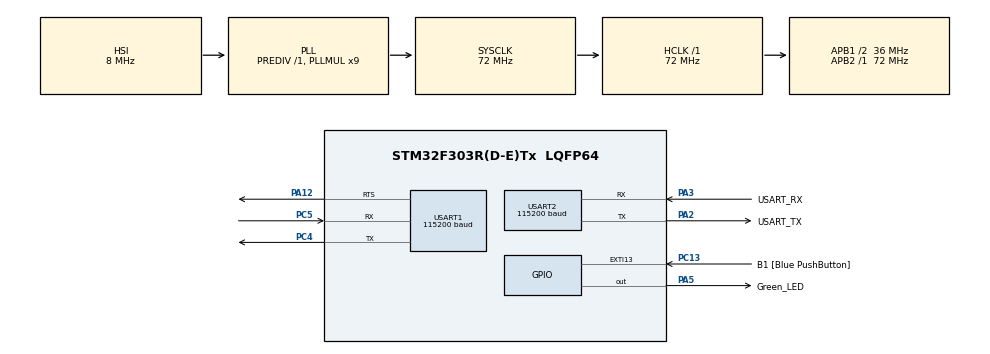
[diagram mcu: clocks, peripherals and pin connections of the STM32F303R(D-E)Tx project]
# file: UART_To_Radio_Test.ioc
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Mcu.Family=STM32F3
Mcu.Name=STM32F303R(D-E)Tx
Mcu.Package=LQFP64
NVIC.PriorityGroup=NVIC_PRIORITYGROUP_0
PA12.Mode=RTS_Only
PA12.Signal=USART1_RTS
PA13.GPIO_Label=TMS
PA13.Mode=Serial_Wire
PA13.Signal=SYS_JTMS-SWDIO
PA14.GPIO_Label=TCK
PA14.Mode=Serial_Wire
PA14.Signal=SYS_JTCK-SWCLK
PA2.GPIO_Label=USART_TX
PA2.GPIO_Mode=GPIO_MODE_AF_PP
PA2.GPIO_PuPd=GPIO_NOPULL
PA2.GPIO_Speed=GPIO_SPEED_FREQ_LOW
PA2.Mode=Asynchronous
PA2.Signal=USART2_TX
PA3.GPIO_Label=USART_RX
PA3.GPIO_Mode=GPIO_MODE_AF_PP
PA3.GPIO_PuPd=GPIO_NOPULL
PA3.GPIO_Speed=GPIO_SPEED_FREQ_LOW
PA3.Mode=Asynchronous
PA3.Signal=USART2_RX
PA5.GPIO_Label=Green_LED
PA5.GPIO_Mode=GPIO_MODE_OUTPUT_PP
PA5.GPIO_PuPd=GPIO_NOPULL
PA5.GPIO_Speed=GPIO_SPEED_FREQ_LOW
PA5.Signal=GPIO_Output
PB3.GPIO_Label=SWO
PB3.Signal=SYS_JTDO-TRACESWO
PC13.GPIO_Label=B1 [Blue PushButton]
PC13.GPIO_ModeDefaultEXTI=GPIO_MODE_IT_FALLING
PC13.Signal=GPXTI13
PC14-OSC32_IN.Mode=LSE-External-Oscillator
PC14-OSC32_IN.Signal=RCC_OSC32_IN
PC15-OSC32_OUT.Mode=LSE-External-Oscillator
PC15-OSC32_OUT.Signal=RCC_OSC32_OUT
PC4.Mode=Asynchronous
PC4.Signal=USART1_TX
PC5.Mode=Asynchronous
PC5.Signal=USART1_RX
PF0-OSC_IN.Mode=HSE-External-Clock-Source
PF0-OSC_IN.Signal=RCC_OSC_IN
PF1-OSC_OUT.Signal=RCC_OSC_OUT
ProjectManager.HeapSize=0x200
ProjectManager.StackSize=0x400
ProjectManager.TargetToolchain=STM32CubeIDE
RCC.AHBFreq_Value=72000000
RCC.APB1CLKDivider=RCC_HCLK_DIV2
RCC.APB1Freq_Value=36000000
RCC.APB1TimFreq_Value=72000000
RCC.APB2Freq_Value=72000000
RCC.APB2TimFreq_Value=72000000
RCC.CortexFreq_Value=72000000
RCC.HCLKFreq_Value=72000000
RCC.HSE_VALUE=8000000
RCC.HSI_VALUE=8000000
RCC.PLLM=8
RCC.PLLMUL=RCC_PLL_MUL9
RCC.PLLN=336
RCC.PLLP=RCC_PLLP_DIV4
RCC.PLLQ=7
RCC.RCC_PLLsource_Clock_Source_FROM_HSE=RCC_HSE_PREDIV_DIV2
RCC.SYSCLKFreq_VALUE=72000000
RCC.SYSCLKSourceVirtual=RCC_SYSCLKSOURCE_PLLCLK
RCC.USBFreq_Value=72000000
USART1.BaudRate=115200
USART1.VirtualMode-Asynchronous=VM_ASYNC
USART2.BaudRate=115200
USART2.VirtualMode-Asynchronous=VM_ASYNC
board=NUCLEO-F303RE

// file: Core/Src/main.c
/* USER CODE BEGIN Header */
/**
  ******************************************************************************
  * @file           : main.c
  * @brief          : Main program body
  ******************************************************************************
  * @attention
  *
  * Copyright (c) 2025 STMicroelectronics.
  * All rights reserved.
  *
  * This software is licensed under terms that can be found in the LICENSE file
  * in the root directory of this software component.
  * If no LICENSE file comes with this software, it is provided AS-IS.
  *
  ******************************************************************************
  */
/* USER CODE END Header */
#include "main.h"

UART_HandleTypeDef huart1;
UART_HandleTypeDef huart2;

void SystemClock_Config(void);
static void MX_GPIO_Init(void);
static void MX_USART2_UART_Init(void);
static void MX_USART1_UART_Init(void);
/* USER CODE BEGIN PFP */
void myprintf(const char *fmt, ...);
/* USER CODE END PFP */

/* USER CODE BEGIN 0 */
//void myprintf(const char *fmt, ...) {
//  static char buffer[256];
//  va_list args;
//  va_start(args, fmt);
//  vsnprintf(buffer, sizeof(buffer), fmt, args);
//  va_end(args);
//
//  int len = strlen(buffer);
//  HAL_UART_Transmit(&huart2, (uint8_t*)buffer, len, -1);
//
//}
/* USER CODE END 0 */

int main(void)
{

  /* MCU Configuration--------------------------------------------------------*/

  /* Reset of all peripherals, Initializes the Flash interface and the Systick. */
  HAL_Init();

  /* Configure the system clock */
  SystemClock_Config();

  /* Initialize all configured peripherals */
  MX_GPIO_Init();
  MX_USART2_UART_Init();
  MX_USART1_UART_Init();
  /* USER CODE BEGIN 2 */
  const char *hw = "Hello World! \r\n";
  const char *send = "GT + CC + GT";
  const char *test = "y";
  HAL_StatusTypeDef ok_notok = HAL_BUSY;
  HAL_GPIO_WritePin(GPIOA, Green_LED_Pin, RESET);
  GPIO_PinState pressed;
  int len = 15;
  int count = 0;
  /* USER CODE END 2 */

  /* Infinite loop */
  /* USER CODE BEGIN WHILE */
  while (1)
  {
	  pressed = HAL_GPIO_ReadPin(GPIOC, GPIO_PIN_13);
	 count ++;
	  if(pressed == 0){
		  //HAL_GPIO_WritePin(GPIOA, Green_LED_Pin, SET);
		  //ok_notok = HAL_UART_Transmit(&huart1, (uint8_t *)test, 1, 100);
		  ok_notok = HAL_UART_Transmit(&huart2, (uint8_t *)hw, len, 100);
		  ok_notok = HAL_UART_Transmit(&huart1, (uint8_t *)hw, len, 100);
//		  ok_notok = HAL_UART_Transmit(&huart1, (uint8_t *)send, 6, 100);
		  if(ok_notok == HAL_OK){
			  HAL_GPIO_WritePin(GPIOA, Green_LED_Pin, RESET);
		  }
		  if(count == 4) {
			  count = 0;
			  ok_notok = HAL_UART_Transmit(&huart1, (uint8_t *)send, 12, 100);
		  }
		  HAL_Delay(1000);
		  HAL_GPIO_WritePin(GPIOA, Green_LED_Pin, SET);
	  }
    /* USER CODE END WHILE */

  }
}

void SystemClock_Config(void)
{
  RCC_OscInitTypeDef RCC_OscInitStruct = {0};
  RCC_ClkInitTypeDef RCC_ClkInitStruct = {0};
  RCC_PeriphCLKInitTypeDef PeriphClkInit = {0};

  /** Initializes the RCC Oscillators according to the specified parameters
  * in the RCC_OscInitTypeDef structure.
  */
  RCC_OscInitStruct.OscillatorType = RCC_OSCILLATORTYPE_HSI;
  RCC_OscInitStruct.HSIState = RCC_HSI_ON;
  RCC_OscInitStruct.HSICalibrationValue = RCC_HSICALIBRATION_DEFAULT;
  RCC_OscInitStruct.PLL.PLLState = RCC_PLL_ON;
  RCC_OscInitStruct.PLL.PLLSource = RCC_PLLSOURCE_HSI;
  RCC_OscInitStruct.PLL.PLLMUL = RCC_PLL_MUL9;
  RCC_OscInitStruct.PLL.PREDIV = RCC_PREDIV_DIV1;
  if (HAL_RCC_OscConfig(&RCC_OscInitStruct) != HAL_OK)
  {
    Error_Handler();
  }

  /** Initializes the CPU, AHB and APB buses clocks
  */
  RCC_ClkInitStruct.ClockType = RCC_CLOCKTYPE_HCLK|RCC_CLOCKTYPE_SYSCLK
                              |RCC_CLOCKTYPE_PCLK1|RCC_CLOCKTYPE_PCLK2;
  RCC_ClkInitStruct.SYSCLKSource = RCC_SYSCLKSOURCE_PLLCLK;
  RCC_ClkInitStruct.AHBCLKDivider = RCC_SYSCLK_DIV1;
  RCC_ClkInitStruct.APB1CLKDivider = RCC_HCLK_DIV2;
  RCC_ClkInitStruct.APB2CLKDivider = RCC_HCLK_DIV1;

  if (HAL_RCC_ClockConfig(&RCC_ClkInitStruct, FLASH_LATENCY_2) != HAL_OK)
  {
    Error_Handler();
  }
  PeriphClkInit.PeriphClockSelection = RCC_PERIPHCLK_USART1|RCC_PERIPHCLK_USART2;
  PeriphClkInit.Usart1ClockSelection = RCC_USART1CLKSOURCE_PCLK2;
  PeriphClkInit.Usart2ClockSelection = RCC_USART2CLKSOURCE_PCLK1;
  if (HAL_RCCEx_PeriphCLKConfig(&PeriphClkInit) != HAL_OK)
  {
    Error_Handler();
  }
}

static void MX_USART1_UART_Init(void)
{

  huart1.Instance = USART1;
  huart1.Init.BaudRate = 115200;
  huart1.Init.WordLength = UART_WORDLENGTH_8B;
  huart1.Init.StopBits = UART_STOPBITS_1;
  huart1.Init.Parity = UART_PARITY_NONE;
  huart1.Init.Mode = UART_MODE_TX_RX;
  huart1.Init.HwFlowCtl = UART_HWCONTROL_RTS;
  huart1.Init.OverSampling = UART_OVERSAMPLING_16;
  huart1.Init.OneBitSampling = UART_ONE_BIT_SAMPLE_DISABLE;
  huart1.AdvancedInit.AdvFeatureInit = UART_ADVFEATURE_NO_INIT;
  if (HAL_UART_Init(&huart1) != HAL_OK)
  {
    Error_Handler();
  }

}

static void MX_USART2_UART_Init(void)
{

  huart2.Instance = USART2;
  huart2.Init.BaudRate = 115200;
  huart2.Init.WordLength = UART_WORDLENGTH_8B;
  huart2.Init.StopBits = UART_STOPBITS_1;
  huart2.Init.Parity = UART_PARITY_NONE;
  huart2.Init.Mode = UART_MODE_TX_RX;
  huart2.Init.HwFlowCtl = UART_HWCONTROL_NONE;
  huart2.Init.OverSampling = UART_OVERSAMPLING_16;
  huart2.Init.OneBitSampling = UART_ONE_BIT_SAMPLE_DISABLE;
  huart2.AdvancedInit.AdvFeatureInit = UART_ADVFEATURE_NO_INIT;
  if (HAL_UART_Init(&huart2) != HAL_OK)
  {
    Error_Handler();
  }

}

static void MX_GPIO_Init(void)
{
  GPIO_InitTypeDef GPIO_InitStruct = {0};

  /* GPIO Ports Clock Enable */
  __HAL_RCC_GPIOC_CLK_ENABLE();
  __HAL_RCC_GPIOF_CLK_ENABLE();
  __HAL_RCC_GPIOA_CLK_ENABLE();
  __HAL_RCC_GPIOB_CLK_ENABLE();

  /*Configure GPIO pin Output Level */
  HAL_GPIO_WritePin(Green_LED_GPIO_Port, Green_LED_Pin, GPIO_PIN_RESET);

  /*Configure GPIO pin : B1_Pin */
  GPIO_InitStruct.Pin = B1_Pin;
  GPIO_InitStruct.Mode = GPIO_MODE_IT_FALLING;
  GPIO_InitStruct.Pull = GPIO_NOPULL;
  HAL_GPIO_Init(B1_GPIO_Port, &GPIO_InitStruct);

  /*Configure GPIO pin : Green_LED_Pin */
  GPIO_InitStruct.Pin = Green_LED_Pin;
  GPIO_InitStruct.Mode = GPIO_MODE_OUTPUT_PP;
  GPIO_InitStruct.Pull = GPIO_NOPULL;
  GPIO_InitStruct.Speed = GPIO_SPEED_FREQ_LOW;
  HAL_GPIO_Init(Green_LED_GPIO_Port, &GPIO_InitStruct);

}

void Error_Handler(void)
{
  __disable_irq();
  while (1)
  {
  }
}
